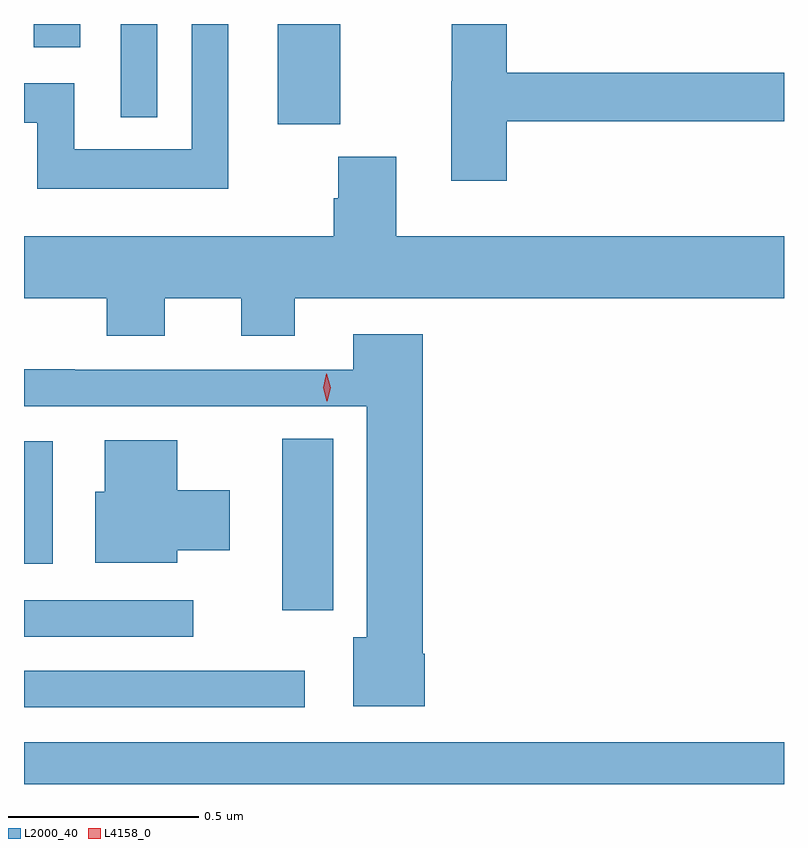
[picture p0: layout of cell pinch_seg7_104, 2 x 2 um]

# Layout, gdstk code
import gdstk
lib = gdstk.Library(unit=1e-6, precision=1e-09)
def R(c, l, rs):  # rectangles x0, y0, x1, y1
    for r in rs: c.add(gdstk.rectangle(r[:2], r[2:], *l))
def P(c, l, *ps):  # polygons
    for p in ps: c.add(gdstk.Polygon(p, *l))
L2000_40 = (2000, 40)
L4158_0 = (4158, 0)

pinch_seg7_104 = lib.new_cell('pinch_seg7_104')
R(pinch_seg7_104, L2000_40, [(938.118,1019.318,940.118,1019.428), (938.118,1019.52,938.857,1019.616), (938.118,1019.706,938.563,1019.802), (938.798,1019.775,938.932,1020.227), (938.118,1019.897,938.194,1020.22), (938.786,1021.054,938.95,1021.318), (938.373,1021.073,938.469,1021.318), (938.144,1021.257,938.266,1021.318)])
P(pinch_seg7_104, L2000_40, [(938.656,1021.318),(938.559,1021.318),(938.559,1020.988),(938.25,1020.988),(938.25,1021.162),(938.118,1021.162),(938.118,1021.058),(938.153,1021.058),(938.153,1020.884),(938.656,1020.884)],
  [(939.389,1021.062),(940.118,1021.062),(940.118,1021.19),(939.389,1021.19),(939.389,1021.318),(939.243,1021.318),(939.243,1021.167),(939.242,1021.167),(939.242,1020.906),(939.389,1020.906)],
  [(938.488,1020.596),(938.69,1020.596),(938.69,1020.497),(938.83,1020.497),(938.83,1020.596),(940.118,1020.596),(940.118,1020.76),(939.098,1020.76),(939.098,1020.969),(938.945,1020.969),(938.945,1020.86),(938.933,1020.86),(938.933,1020.76),(938.118,1020.76),(938.118,1020.596),(938.336,1020.596),(938.336,1020.497),(938.488,1020.497)],
  [(939.172,1019.661),(939.167,1019.661),(939.167,1020.502),(938.984,1020.502),(938.984,1020.408),(938.252,1020.408),(938.252,1020.41),(938.118,1020.41),(938.118,1020.312),(939.02,1020.312),(939.02,1019.704),(938.984,1019.704),(938.984,1019.522),(939.172,1019.522)],
  [(938.521,1019.933),(938.659,1019.933),(938.659,1020.091),(938.521,1020.091),(938.521,1020.223),(938.33,1020.223),(938.33,1020.087),(938.306,1020.087),(938.306,1019.9),(938.521,1019.9)])
P(pinch_seg7_104, L4158_0, [(938.915,1020.325),(938.905,1020.361),(938.914,1020.397),(938.915,1020.397),(938.915,1020.397),(938.925,1020.361),(938.916,1020.325),(938.916,1020.325)])

lib.write_gds('pinch_seg7_104.gds')
